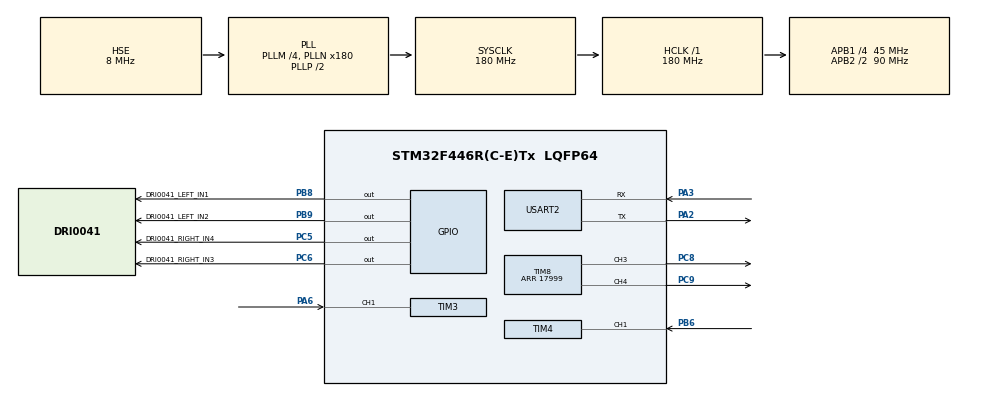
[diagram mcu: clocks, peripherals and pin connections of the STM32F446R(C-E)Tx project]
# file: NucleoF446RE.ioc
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Dma.Request0=USART2_RX
Dma.Request1=USART2_TX
Dma.USART2_RX.0.Direction=DMA_PERIPH_TO_MEMORY
Dma.USART2_RX.0.FIFOMode=DMA_FIFOMODE_DISABLE
Dma.USART2_RX.0.Instance=DMA1_Stream5
Dma.USART2_RX.0.MemDataAlignment=DMA_MDATAALIGN_BYTE
Dma.USART2_RX.0.MemInc=DMA_MINC_ENABLE
Dma.USART2_RX.0.Mode=DMA_CIRCULAR
Dma.USART2_RX.0.PeriphDataAlignment=DMA_PDATAALIGN_BYTE
Dma.USART2_RX.0.PeriphInc=DMA_PINC_DISABLE
Dma.USART2_RX.0.Priority=DMA_PRIORITY_MEDIUM
Dma.USART2_TX.1.Direction=DMA_MEMORY_TO_PERIPH
Dma.USART2_TX.1.FIFOMode=DMA_FIFOMODE_DISABLE
Dma.USART2_TX.1.Instance=DMA1_Stream6
Dma.USART2_TX.1.MemDataAlignment=DMA_MDATAALIGN_BYTE
Dma.USART2_TX.1.MemInc=DMA_MINC_ENABLE
Dma.USART2_TX.1.Mode=DMA_NORMAL
Dma.USART2_TX.1.PeriphDataAlignment=DMA_PDATAALIGN_BYTE
Dma.USART2_TX.1.PeriphInc=DMA_PINC_DISABLE
Dma.USART2_TX.1.Priority=DMA_PRIORITY_LOW
Mcu.Family=STM32F4
Mcu.Name=STM32F446R(C-E)Tx
Mcu.Package=LQFP64
NVIC.DMA1_Stream5_IRQn=true\:0\:0\:false\:false\:true\:false\:true\:true
NVIC.DMA1_Stream6_IRQn=true\:0\:0\:false\:false\:true\:false\:true\:true
NVIC.PriorityGroup=NVIC_PRIORITYGROUP_4
NVIC.USART2_IRQn=true\:0\:0\:false\:false\:true\:true\:true\:true
PA2.Mode=Asynchronous
PA2.Signal=USART2_TX
PA3.Mode=Asynchronous
PA3.Signal=USART2_RX
PA6.Signal=S_TIM3_CH1
PB6.Signal=S_TIM4_CH1
PB8.GPIO_Label=DRI0041_LEFT_IN1
PB8.Signal=GPIO_Output
PB9.GPIO_Label=DRI0041_LEFT_IN2
PB9.Signal=GPIO_Output
PC5.GPIO_Label=DRI0041_RIGHT_IN4
PC5.Signal=GPIO_Output
PC6.GPIO_Label=DRI0041_RIGHT_IN3
PC6.Signal=GPIO_Output
PC8.Signal=S_TIM8_CH3
PC9.Signal=S_TIM8_CH4
PH0-OSC_IN.Mode=HSE-External-Clock-Source
PH0-OSC_IN.Signal=RCC_OSC_IN
PH1-OSC_OUT.Mode=HSE-External-Clock-Source
PH1-OSC_OUT.Signal=RCC_OSC_OUT
ProjectManager.HeapSize=0x200
ProjectManager.StackSize=0x400
ProjectManager.TargetToolchain=STM32CubeIDE
RCC.AHBFreq_Value=180000000
RCC.APB1CLKDivider=RCC_HCLK_DIV4
RCC.APB1Freq_Value=45000000
RCC.APB1TimFreq_Value=90000000
RCC.APB2CLKDivider=RCC_HCLK_DIV2
RCC.APB2Freq_Value=90000000
RCC.APB2TimFreq_Value=180000000
RCC.CortexFreq_Value=180000000
RCC.HCLKFreq_Value=180000000
RCC.HSE_VALUE=8000000
RCC.PLLM=4
RCC.PLLN=180
RCC.PLLSourceVirtual=RCC_PLLSOURCE_HSE
RCC.SYSCLKFreq_VALUE=180000000
RCC.SYSCLKSource=RCC_SYSCLKSOURCE_PLLCLK
RCC.USBFreq_Value=180000000
RCC.VCOOutputFreq_Value=360000000
SH.S_TIM3_CH1.0=TIM3_CH1,TriggerSource_TI1FP1
SH.S_TIM4_CH1.0=TIM4_CH1,TriggerSource_TI1FP1
SH.S_TIM8_CH3.0=TIM8_CH3,PWM Generation3 CH3
SH.S_TIM8_CH4.0=TIM8_CH4,PWM Generation4 CH4
TIM8.AutoReloadPreload=TIM_AUTORELOAD_PRELOAD_ENABLE
TIM8.Channel-PWM\ Generation3\ CH3=TIM_CHANNEL_3
TIM8.Channel-PWM\ Generation4\ CH4=TIM_CHANNEL_4
TIM8.Period=17999
USART2.VirtualMode=VM_ASYNC
VP_TIM3_VS_ControllerModeClock.Mode=Clock Mode
VP_TIM4_VS_ControllerModeClock.Mode=Clock Mode
VP_TIM8_VS_ClockSourceINT.Mode=Internal
board=custom

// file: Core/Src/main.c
/* USER CODE BEGIN Header */
/**
  ******************************************************************************
  * @file           : main.c
  * @brief          : Main program body
  ******************************************************************************
  * @attention
  *
  * Copyright (c) 2026 STMicroelectronics.
  * All rights reserved.
  *
  * This software is licensed under terms that can be found in the LICENSE file
  * in the root directory of this software component.
  * If no LICENSE file comes with this software, it is provided AS-IS.
  *
  ******************************************************************************
  */
/* USER CODE END Header */
#include "main.h"
#include "dma.h"
#include "tim.h"
#include "usart.h"
#include "gpio.h"

/* USER CODE BEGIN Includes */
#include "motion_command_guard.h"
#include "uart_protocol_receiver.h"
#include "uart_rx_port.h"
#include "uart_link_manager.h"
#include "stm32_motion_protocol_manager.h"
#include "protocol_message_type.h"
#include "wheel_encoder.h"
#include "wheel_speed_estimator.h"
#include "uart_protocol_transmitter.h"
#include "wheel_speed_telemetry_adapter.h"
#include "wheel_speed_telemetry_frame.h"
/* USER CODE END Includes */

/* USER CODE BEGIN PD */
#define MOTION_COMMAND_TIMEOUT_MS 250U
#define LINK_HEARTBEAT_TIMEOUT_MS 1000U
#define WHEEL_SPEED_SAMPLE_PERIOD_MS 100U
/* Rowenta provisional open-loop calibration; not closed-loop velocity control. */
#define ROWENTA_BRINGUP_OPEN_LOOP_FULL_SCALE_MM_S 400U
#define ROWENTA_BRINGUP_MINIMUM_START_COMMAND 50U
/* USER CODE END PD */

/* USER CODE BEGIN PV */
static UartRxQueue uart_rx_queue;
static UartProtocolReceiver uart_protocol_receiver;
static Stm32MotionProtocolManager motion_protocol_manager;
static WheelSpeedEstimator wheel_speed_estimator;
static volatile WheelSpeedEstimate wheel_speed_estimate;
static uint32_t last_speed_sample_ms;
static uint16_t telemetry_sequence;
/* USER CODE END PV */

void SystemClock_Config(void);

/* USER CODE BEGIN 0 */
static void reset_link_and_stop_motion(void)
{
  (void)uart_link_manager_init(
      LINK_HEARTBEAT_TIMEOUT_MS);

  stm32_motion_protocol_manager_reset(
      &motion_protocol_manager);

  (void)motion_command_guard_stop();
}

/* USER CODE END 0 */

int main(void)
{

  /* MCU Configuration--------------------------------------------------------*/

  /* Reset of all peripherals, Initializes the Flash interface and the Systick. */
  HAL_Init();

  /* Configure the system clock */
  SystemClock_Config();

  /* Initialize all configured peripherals */
  MX_GPIO_Init();
  MX_DMA_Init();
  MX_TIM8_Init();
  MX_USART2_UART_Init();
  MX_TIM3_Init();
  MX_TIM4_Init();
  /* USER CODE BEGIN 2 */

  if (!motion_command_guard_init(
          MOTION_COMMAND_TIMEOUT_MS))
  {
    Error_Handler();
  }

  if (!wheel_encoder_init())
  {
    Error_Handler();
  }

  wheel_speed_estimator_init(&wheel_speed_estimator);
  last_speed_sample_ms = HAL_GetTick();
  wheel_speed_estimate = wheel_speed_estimator_update(
      &wheel_speed_estimator,
      wheel_encoder_read(),
      last_speed_sample_ms);

  const WheelVelocityFeedforwardConfig feedforward_config =
  {
    .max_velocity_mm_s =
        ROWENTA_BRINGUP_OPEN_LOOP_FULL_SCALE_MM_S ,

    .minimum_start_command =
      ROWENTA_BRINGUP_MINIMUM_START_COMMAND
  };

  if (!stm32_motion_protocol_manager_init(
          &motion_protocol_manager,
          &feedforward_config))
  {
    Error_Handler();
  }

  if (!uart_link_manager_init(
        LINK_HEARTBEAT_TIMEOUT_MS))
  {
    Error_Handler();
  }

  if (!uart_protocol_receiver_init(
        &uart_protocol_receiver,
        &uart_rx_queue))
  {
    Error_Handler();
  }

  if (!uart_rx_port_init(&uart_rx_queue))
  {
    Error_Handler();
  }

  /* USER CODE END 2 */

  /* Infinite loop */
  /* USER CODE BEGIN WHILE */
  while (1)
  {
    const uint32_t now_ms = HAL_GetTick();
    bool speed_sampled = false;

    const Stm32MotionProtocolManagerResult motion_update =
        stm32_motion_protocol_manager_update(
            &motion_protocol_manager,
            now_ms);

    if ((motion_update ==
         STM32_MOTION_PROTOCOL_MANAGER_RESULT_STOP_FAILED) ||
        (motion_update ==
         STM32_MOTION_PROTOCOL_MANAGER_RESULT_TRANSMIT_FAILED))
    {
      reset_link_and_stop_motion();
    }

    if ((uint32_t)(now_ms - last_speed_sample_ms) >= WHEEL_SPEED_SAMPLE_PERIOD_MS)
    {
      wheel_speed_estimate = wheel_speed_estimator_update(
          &wheel_speed_estimator,
          wheel_encoder_read(),
          now_ms);

      last_speed_sample_ms = now_ms;
      speed_sampled = true;
    }

    const ProtocolFrame *frame = NULL;

    const UartProtocolReceiverResult receive_result =
        uart_protocol_receiver_poll(
            &uart_protocol_receiver,
            &frame);

    if ((receive_result == UART_PROTOCOL_RECEIVER_RESULT_OVERFLOW) ||
        (receive_result == UART_PROTOCOL_RECEIVER_RESULT_INVALID_ARGUMENT))
    {
      reset_link_and_stop_motion();
    }
    else if (receive_result == UART_PROTOCOL_RECEIVER_RESULT_FRAME)
    {
      switch (frame->message_type)
      {
      case PROTOCOL_MESSAGE_TYPE_LINK_SYNC:
      case PROTOCOL_MESSAGE_TYPE_HEARTBEAT:
        {
          const UartLinkManagerResult link_result =
              uart_link_manager_handle(
                  frame,
                  now_ms);

          /*
           * A successful LINK_SYNC starts a new link epoch.
           *
           * Any loss or rejection of synchronization also
           * invalidates the current motion session.
           */
          if ((link_result ==
               UART_LINK_MANAGER_RESULT_SYNCHRONIZED) ||
              !uart_link_manager_is_synchronized())
          {
            stm32_motion_protocol_manager_reset(
                &motion_protocol_manager);
          }

          break;
        }

      case PROTOCOL_MESSAGE_TYPE_MOTION_COMMAND:
      case PROTOCOL_MESSAGE_TYPE_WHEEL_VELOCITY:
        {
          const Stm32MotionProtocolManagerResult motion_result =
              stm32_motion_protocol_manager_handle(
                  &motion_protocol_manager,
                  frame,
                  uart_link_manager_is_synchronized(),
                  now_ms);

          if ((motion_result ==
               STM32_MOTION_PROTOCOL_MANAGER_RESULT_APPLY_FAILED) ||
              (motion_result ==
               STM32_MOTION_PROTOCOL_MANAGER_RESULT_STOP_FAILED) ||
              (motion_result ==
               STM32_MOTION_PROTOCOL_MANAGER_RESULT_TRANSMIT_FAILED))
          {
            reset_link_and_stop_motion();
          }

          break;
        }

      default:
        break;
      }
    }

    const UartLinkManagerUpdate link_update = uart_link_manager_update(now_ms);

    if ((link_update == UART_LINK_MANAGER_UPDATE_LINK_LOST) ||
        (link_update == UART_LINK_MANAGER_UPDATE_STOP_FAILED))
    {
      stm32_motion_protocol_manager_reset(&motion_protocol_manager);
    }

    if (speed_sampled &&
      (link_update == UART_LINK_MANAGER_UPDATE_NONE) &&
      uart_link_manager_is_synchronized())
    {
      const WheelSpeedEstimate estimate = wheel_speed_estimate;

      const WheelSpeedTelemetryPayload payload =
          wheel_speed_telemetry_payload_from_estimate(&estimate);

      const ProtocolFrame telemetry_frame =
          wheel_speed_telemetry_frame_build(
              &payload,
              telemetry_sequence);

      if (uart_protocol_transmitter_try_send_telemetry(
              &telemetry_frame))
      {
        ++telemetry_sequence;
      }
    }
    /* USER CODE END WHILE */

  }
}

void SystemClock_Config(void)
{
  RCC_OscInitTypeDef RCC_OscInitStruct = {0};
  RCC_ClkInitTypeDef RCC_ClkInitStruct = {0};

  /** Configure the main internal regulator output voltage
  */
  __HAL_RCC_PWR_CLK_ENABLE();
  __HAL_PWR_VOLTAGESCALING_CONFIG(PWR_REGULATOR_VOLTAGE_SCALE1);

  /** Initializes the RCC Oscillators according to the specified parameters
  * in the RCC_OscInitTypeDef structure.
  */
  RCC_OscInitStruct.OscillatorType = RCC_OSCILLATORTYPE_HSE;
  RCC_OscInitStruct.HSEState = RCC_HSE_BYPASS;
  RCC_OscInitStruct.PLL.PLLState = RCC_PLL_ON;
  RCC_OscInitStruct.PLL.PLLSource = RCC_PLLSOURCE_HSE;
  RCC_OscInitStruct.PLL.PLLM = 4;
  RCC_OscInitStruct.PLL.PLLN = 180;
  RCC_OscInitStruct.PLL.PLLP = RCC_PLLP_DIV2;
  RCC_OscInitStruct.PLL.PLLQ = 2;
  RCC_OscInitStruct.PLL.PLLR = 2;
  if (HAL_RCC_OscConfig(&RCC_OscInitStruct) != HAL_OK)
  {
    Error_Handler();
  }

  /** Activate the Over-Drive mode
  */
  if (HAL_PWREx_EnableOverDrive() != HAL_OK)
  {
    Error_Handler();
  }

  /** Initializes the CPU, AHB and APB buses clocks
  */
  RCC_ClkInitStruct.ClockType = RCC_CLOCKTYPE_HCLK|RCC_CLOCKTYPE_SYSCLK
                              |RCC_CLOCKTYPE_PCLK1|RCC_CLOCKTYPE_PCLK2;
  RCC_ClkInitStruct.SYSCLKSource = RCC_SYSCLKSOURCE_PLLCLK;
  RCC_ClkInitStruct.AHBCLKDivider = RCC_SYSCLK_DIV1;
  RCC_ClkInitStruct.APB1CLKDivider = RCC_HCLK_DIV4;
  RCC_ClkInitStruct.APB2CLKDivider = RCC_HCLK_DIV2;

  if (HAL_RCC_ClockConfig(&RCC_ClkInitStruct, FLASH_LATENCY_5) != HAL_OK)
  {
    Error_Handler();
  }
}

void Error_Handler(void)
{
  __disable_irq();
  while (1)
  {
  }
}
